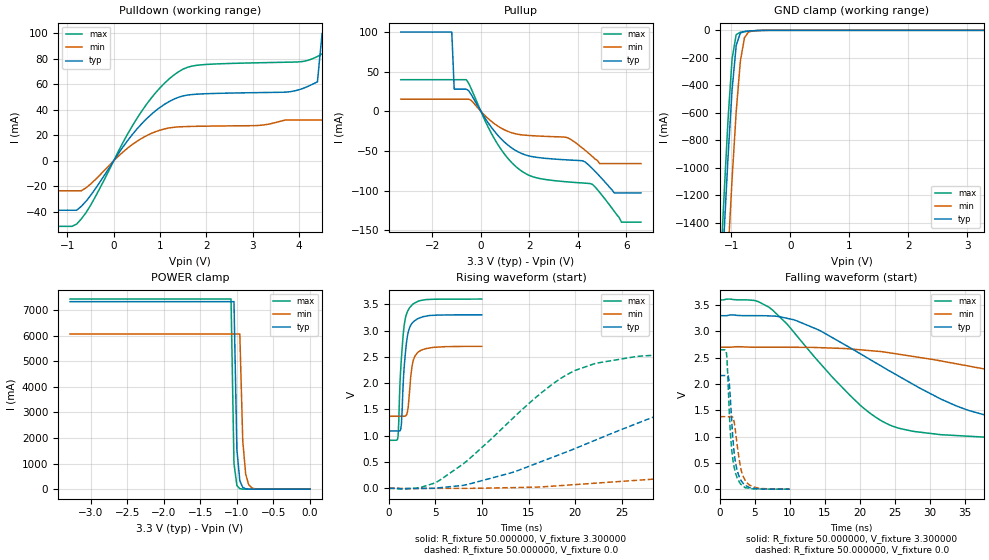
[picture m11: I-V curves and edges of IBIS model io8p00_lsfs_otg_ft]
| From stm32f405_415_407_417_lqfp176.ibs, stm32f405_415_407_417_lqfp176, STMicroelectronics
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|   Model io8p00_lsfs_otg_ft
[Model]  io8p00_lsfs_otg_ft
Model_type I/O
Polarity   Non-Inverting
Enable   Active-Low
Vinl =   0.990000V
Vinh =   2.310000V
Vmeas =  1.650000V
Cref =   50.000000pF
Rref =   100.000000M
Vref =   0.0V
C_comp   8.196500pF   7.968500pF   8.492600pF
[Temperature Range]   25.000000   0.125000k   -40.000000
[Pullup Reference]   3.300000V   2.700000V   3.600000V
[Pulldown Reference]   0.0V   0.0V   0.0V
[POWER Clamp Reference]   3.300000V   2.700000V   3.600000V
[GND Clamp Reference]   0.0V   0.0V   0.0V
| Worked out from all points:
|   slope of the pulldown table from 0 to 0.495 V, typ, clamps not added: 20.1 ohm
|   slope of the pullup table from 0 to 0.495 V, typ, clamps not added: 21.8 ohm
|   GND clamp passes 1 mA (typ) near -0.52 V on its own axis
|   POWER clamp passes 1 mA (typ) near -0.81 V on its own axis
|   rising waveform, R_fixture 50.000000, V_fixture 3.300000: 20-80 % time 527ps typ, 501ps min, 529ps max; typ from 1.09 V to 3.3 V
|   rising waveform, R_fixture 50.000000, V_fixture 0.0: 20-80 % time 19.4ns typ, 47.3ns min, 10.3ns max; typ from 0 V to 2.16 V
|   falling waveform, R_fixture 50.000000, V_fixture 3.300000: 20-80 % time 18.4ns typ, 37.6ns min, 11.3ns max; typ from 3.3 V to 1.09 V
|   falling waveform, R_fixture 50.000000, V_fixture 0.0: 20-80 % time 848ps typ, 1.01ns min, 756ps max; typ from 2.16 V to 0 V
[Pulldown]
|Voltage   I(typ)   I(min)   I(max)
-3.3V     -38.65mA   -23.43mA   -51.3mA
-800mV    -38.65mA   -23.43mA   -49.55mA
600mV     28.89mA    17.56mA    38.66mA
1.4V      49.88mA    26.66mA    69.85mA
4.1V      56.96mA    32mA       77.99mA
4.4V      62mA       32mA       81.81mA
4.5V      100mA      32mA       83.91mA
4.7V      100mA      32mA       89mA
4.8V      100mA      32mA       100mA
5.1V      100mA      32mA       100mA
5.2V      1A         1A         100mA
6.6V      1A         1A         1A
[Pullup]
|Voltage   I(typ)   I(min)   I(max)
-3.3V     100mA      15.32mA    39.89mA
-1.2V     100mA      15.32mA    39.89mA
-1.1V     27.98mA    15.32mA    39.89mA
-600mV    27.98mA    15.32mA    39.89mA
500mV     -22.94mA   -14.36mA   -31.63mA
1.3V      -46.85mA   -27.39mA   -65.63mA
2.1V      -57.1mA    -30.77mA   -82.2mA
3.5V      -61.24mA   -32.7mA    -88.93mA
4.6V      -72.4mA    -57.1mA    -92.27mA
5.5V      -103mA     -66mA      -126.2mA
5.8V      -103mA     -66mA      -140mA
6.6V      -103mA     -66mA      -140mA
[GND_clamp]
|Voltage   I(typ)   I(min)   I(max)
-3.3V     -9.479A    -9.465A    -9.974A
-1.2V     -2.125A    -2.854A    -1.857A
-1.13V    -1.511A    -2.236A    -1.236A
-1.06V    -933.3mA   -1.641A    -660.9mA
-990mV    -433.3mA   -1.082A    -206.9mA
-920mV    -110.3mA   -591mA     -31.45mA
-850mV    -19.78mA   -226.7mA   -13.65mA
-780mV    -8.311mA   -53.93mA   -9.506mA
-710mV    -5.285mA   -11.94mA   -6.262mA
-640mV    -3.232mA   -4.282mA   -3.577mA
3.28V     0A         0A         0A
[POWER_clamp]
|Voltage   I(typ)   I(min)   I(max)
-3.28V    7.328A     6.064A     7.43A
-1.08V    7.328A     6.064A     7.43A
-1.04V    7.328A     6.064A     1.015A
-1V       1.545A     6.064A     138.6mA
-960mV    325.6mA    6.064A     18.93mA
-920mV    68.64mA    1.89A      2.585mA
-880mV    14.47mA    589mA      353uA
-840mV    3.05mA     183.6mA    105.2uA
-800mV    642.9uA    57.21mA    105.2uA
-720mV    28.59uA    5.557mA    105.2uA
0V        0A         0A         0A
[Ramp]
| variable   typ   min   max
dV/dt_r  1.29641/19.41033n   0.82716/47.29580n   1.59085/10.25737n
dV/dt_f  1.32588/18.36468n   0.79746/37.71177n   1.61152/11.25114n
R_load = 50.000000
[Rising Waveform]
R_fixture= 50.000000
V_fixture= 3.300000
V_fixture_min= 2.700000
V_fixture_max= 3.600000
|time   V(typ)   V(min)   V(max)
0s        1.091V     1.371V     914mV
940.9ps   1.091V     1.371V     943.5mV
1.061ns   1.091V     1.371V     1.263V
1.281ns   1.133V     1.371V     2.294V
1.662ns   2.349V     1.371V     3.118V
1.942ns   2.836V     1.411V     3.338V
2.202ns   3.043V     1.803V     3.43V
2.503ns   3.142V     2.34V      3.489V
3.163ns   3.231V     2.595V     3.561V
9.97ns    3.3V       2.7V       3.6V
[Rising Waveform]
R_fixture= 50.000000
V_fixture= 0.0
V_fixture_min= 0.0
V_fixture_max= 0.0
|time   V(typ)   V(min)   V(max)
0s        8.709uV    4.061uV    76.57uV
5.506ns   12.08mV    -345.9uV   159.8mV
13.51ns   315.4mV    15.24mV    1.367V
20.02ns   759.8mV    71.84mV    2.244V
26.53ns   1.227V     151.8mV    2.506V
34.53ns   1.722V     278.6mV    2.599V
51.55ns   2.065V     600.7mV    2.644V
77.08ns   2.14V      1.053V     2.651V
104.1ns   2.158V     1.264V     2.651V
249.2ns   2.161V     1.379V     2.651V
[Falling Waveform]
R_fixture= 50.000000
V_fixture= 3.300000
V_fixture_min= 2.700000
V_fixture_max= 3.600000
|time   V(typ)   V(min)   V(max)
0s        3.3V       2.7V       3.6V
5.506ns   3.3V       2.7V       3.567V
11.01ns   3.201V     2.699V     2.915V
22.02ns   2.42V      2.628V     1.389V
31.53ns   1.714V     2.439V     1.036V
37.54ns   1.421V     2.291V     991.7mV
46.05ns   1.251V     2.089V     960.1mV
65.57ns   1.146V     1.678V     928.1mV
86.09ns   1.115V     1.512V     917.1mV
249.2ns   1.091V     1.371V     914mV
[Falling Waveform]
R_fixture= 50.000000
V_fixture= 0.0
V_fixture_min= 0.0
V_fixture_max= 0.0
|time   V(typ)   V(min)   V(max)
0s        2.161V     1.379V     2.651V
981ps     2.162V     1.379V     2.568V
1.321ns   2.076V     1.379V     1.617V
1.461ns   1.845V     1.38V      1.212V
1.682ns   1.367V     1.381V     797mV
2.002ns   767.3mV    1.316V     462.2mV
2.503ns   353.7mV    831.9mV    207.7mV
3.203ns   133.1mV    295.9mV    73.22mV
4.224ns   32.47mV    80.69mV    15.69mV
9.97ns    8.709uV    4.061uV    76.57uV
